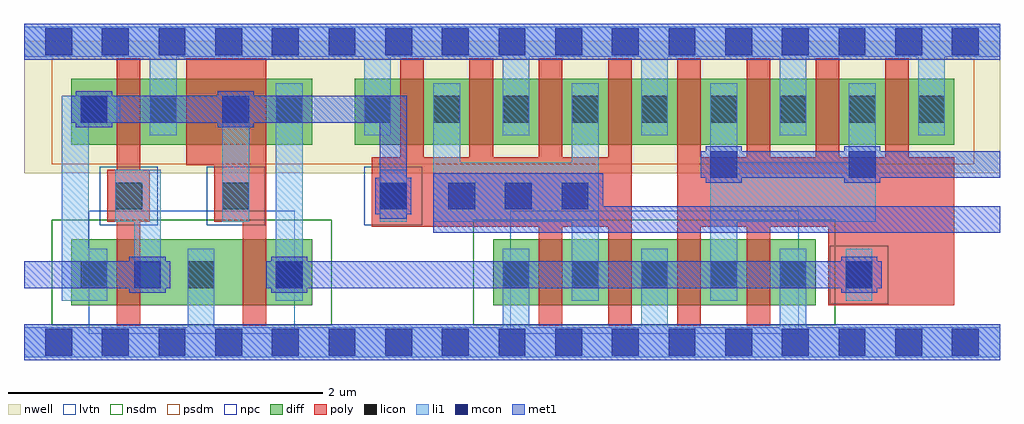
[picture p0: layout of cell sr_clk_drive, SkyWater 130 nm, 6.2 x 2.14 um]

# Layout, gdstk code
import gdstk
lib = gdstk.Library(unit=1e-6, precision=1e-09)
def R(c, l, rs):  # rectangles x0, y0, x1, y1
    for r in rs: c.add(gdstk.rectangle(r[:2], r[2:], *l))
def A(c, l, x, y, w, h, nx, ny, dx, dy):  # array of equal rectangles
    R(c, l, [(x+i*dx, y+j*dy, x+i*dx+w, y+j*dy+h) for i in range(nx) for j in range(ny)])
nwell = (64, 20)
diff = (65, 20)
poly = (66, 20)
licon = (66, 44)
li1 = (67, 20)
mcon = (67, 44)
met1 = (68, 20)
nsdm = (93, 44)
psdm = (94, 20)
npc = (95, 20)
lvtn = (125, 44)

sr_clk_drive = lib.new_cell('sr_clk_drive')
R(sr_clk_drive, nwell, [(9.7,-3.66,15.9,-2.82)])
R(sr_clk_drive, diff, [(10,-4.5,11.53,-4.08), (12.68,-4.5,14.73,-4.08), (10,-3.48,11.53,-3.06), (11.8,-3.48,15.61,-3.06)])
A(sr_clk_drive, poly, 12.97, -4.63, 0.15, 0.63, 4, 1, 0.44, 0)
A(sr_clk_drive, poly, 12.09, -3.56, 0.15, 0.63, 8, 1, 0.44, 0)
R(sr_clk_drive, poly, [(10.29,-4.63,10.44,-3.97), (11.09,-4.63,11.24,-3.97), (14.81,-4.5,15.61,-4), (11.91,-4,13.56,-3.56), (13.85,-4,15.61,-3.56), (10.23,-3.97,10.5,-3.64), (10.91,-3.97,11.24,-3.61), (10.29,-3.64,10.44,-2.93), (10.73,-3.61,11.24,-2.93)])
A(sr_clk_drive, licon, 12.74, -4.39, 0.17, 0.17, 5, 1, 0.44, 0)
A(sr_clk_drive, licon, 11.86, -3.34, 0.17, 0.17, 9, 1, 0.44, 0)
R(sr_clk_drive, licon, [(10.06,-4.39,10.23,-4.22), (10.74,-4.39,10.91,-4.22), (11.3,-4.39,11.47,-4.22), (14.92,-4.39,15.09,-4.22), (10.28,-3.89,10.45,-3.72), (10.96,-3.89,11.13,-3.72), (11.96,-3.89,12.13,-3.72), (10.06,-3.34,10.23,-3.17), (10.5,-3.34,10.67,-3.17), (11.3,-3.34,11.47,-3.17)])
A(sr_clk_drive, li1, 12.74, -4.64, 0.17, 0.5, 3, 1, 0.88, 0)
A(sr_clk_drive, li1, 12.3, -3.59, 0.17, 0.5, 4, 1, 0.88, 0)
A(sr_clk_drive, li1, 11.86, -3.42, 0.17, 0.5, 5, 1, 0.88, 0)
R(sr_clk_drive, li1, [(9.7,-4.83,15.9,-4.64), (10.74,-4.64,10.91,-4.14), (9.94,-4.47,10.23,-4.14), (11.3,-4.47,11.47,-3.09), (13.18,-4.47,13.35,-3.97), (14.06,-4.47,14.23,-3.97), (14.92,-4.47,15.09,-4.14), (10.4,-4.39,10.57,-3.97), (9.94,-4.14,10.11,-3.34), (10.28,-3.97,10.57,-3.64), (10.96,-3.97,11.13,-3.17), (11.96,-3.97,12.13,-3.64), (12.3,-3.97,13.35,-3.59), (14.06,-3.97,15.11,-3.59), (10.5,-3.42,10.67,-2.92), (9.94,-3.34,10.31,-3.17), (9.7,-2.92,15.9,-2.73)])
A(sr_clk_drive, mcon, 9.835, -4.82, 0.17, 0.17, 17, 2, 0.36, 1.91)
A(sr_clk_drive, mcon, 12.395, -3.89, 0.17, 0.17, 3, 1, 0.36, 0)
R(sr_clk_drive, mcon, [(10.4,-4.39,10.57,-4.22), (11.3,-4.39,11.47,-4.22), (14.92,-4.39,15.09,-4.22), (11.96,-3.89,12.13,-3.72), (14.06,-3.69,14.23,-3.52), (14.94,-3.69,15.11,-3.52), (10.06,-3.34,10.23,-3.17), (10.96,-3.34,11.13,-3.17)])
R(sr_clk_drive, met1, [(9.7,-4.85,15.9,-4.62), (10.37,-4.42,10.6,-4.39), (11.27,-4.42,11.5,-4.39), (14.89,-4.42,15.12,-4.39), (9.7,-4.39,10.63,-4.22), (11.24,-4.39,15.15,-4.22), (10.37,-4.22,10.6,-4.19), (11.27,-4.22,11.5,-4.19), (14.89,-4.22,15.12,-4.19), (12.3,-4.04,15.9,-3.87), (11.96,-3.95,12.13,-3.92), (11.93,-3.92,12.16,-3.69), (12.3,-3.87,13.38,-3.66), (14.03,-3.72,14.26,-3.69), (14.91,-3.72,15.14,-3.69), (11.96,-3.69,12.13,-3.34), (14,-3.69,15.9,-3.52), (14.03,-3.52,14.26,-3.49), (14.91,-3.52,15.14,-3.49), (10.03,-3.37,10.26,-3.34), (10.93,-3.37,11.16,-3.34), (10,-3.34,12.13,-3.17), (10.03,-3.17,10.26,-3.14), (10.93,-3.17,11.16,-3.14), (9.7,-2.94,15.9,-2.71)])
R(sr_clk_drive, nsdm, [(9.875,-4.625,11.655,-3.955), (12.555,-4.625,14.855,-3.955)])
R(sr_clk_drive, psdm, [(9.875,-3.605,15.735,-2.935)])
R(sr_clk_drive, npc, [(14.82,-4.49,15.19,-4.12), (10.18,-3.99,10.55,-3.62), (10.86,-3.99,11.23,-3.62), (11.86,-3.99,12.23,-3.62)])
R(sr_clk_drive, lvtn, [(10.11,-4.68,11.42,-3.9), (12.79,-4.68,14.62,-3.9)])

lib.write_gds('sr_clk_drive.gds')
